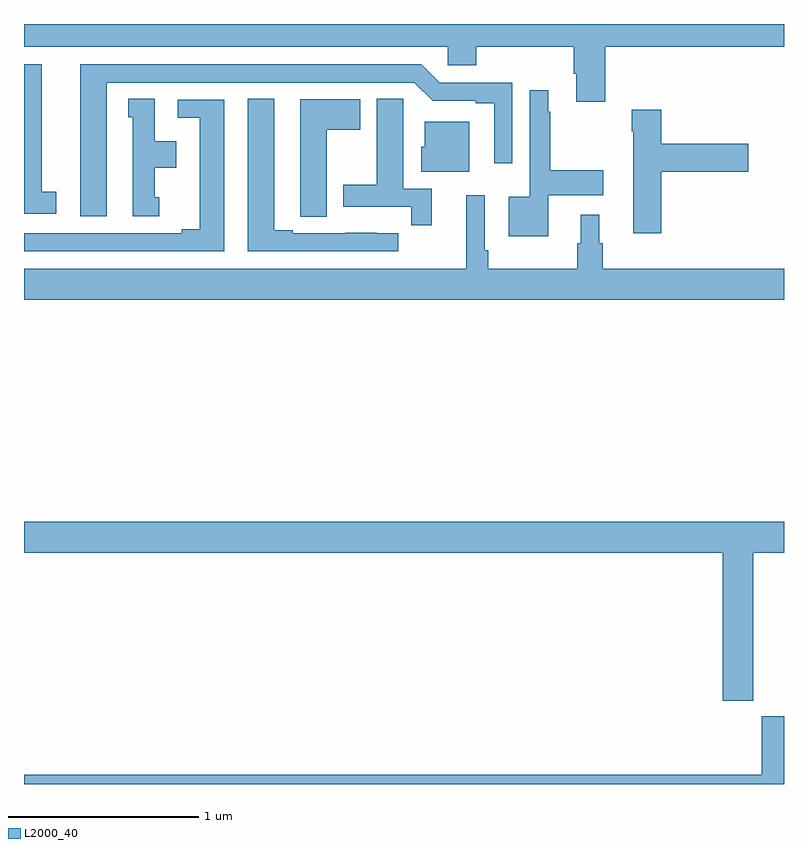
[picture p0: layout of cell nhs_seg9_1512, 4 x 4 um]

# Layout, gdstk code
import gdstk
lib = gdstk.Library(unit=1e-6, precision=1e-09)
def P(c, l, *ps):  # polygons
    for p in ps: c.add(gdstk.Polygon(p, *l))
L2000_40 = (2000, 40)

nhs_seg9_1512 = lib.new_cell('nhs_seg9_1512')
P(nhs_seg9_1512, L2000_40, [(198.059,1236.38),(199,1236.38),(199,1236.5),(195,1236.5),(195,1236.38),(197.229,1236.38),(197.229,1236.282),(197.381,1236.282),(197.381,1236.38),(197.894,1236.38),(197.894,1236.238),(197.906,1236.238),(197.906,1236.09),(198.059,1236.09)],
  [(195.436,1236.192),(197.055,1236.192),(197.151,1236.096),(197.378,1236.096),(197.378,1236.084),(197.474,1236.084),(197.474,1235.766),(197.571,1235.766),(197.571,1236.192),(197.187,1236.192),(197.091,1236.288),(195.296,1236.288),(195.296,1235.487),(195.436,1235.487)],
  [(195.169,1235.618),(195.094,1235.618),(195.094,1236.288),(195,1236.288),(195,1235.502),(195.169,1235.502)],
  [(197.758,1235.6),(198.049,1235.6),(198.049,1235.73),(197.77,1235.73),(197.77,1236.038),(197.758,1236.038),(197.758,1236.151),(197.661,1236.151),(197.661,1235.59),(197.552,1235.59),(197.552,1235.384),(197.758,1235.384)],
  [(195.712,1235.589),(195.688,1235.589),(195.688,1235.744),(195.802,1235.744),(195.802,1235.884),(195.688,1235.884),(195.688,1236.107),(195.548,1236.107),(195.548,1236.009),(195.572,1236.009),(195.572,1235.487),(195.712,1235.487)],
  [(197.147,1235.634),(196.996,1235.634),(196.996,1235.996),(196.995,1235.996),(196.995,1236.107),(196.856,1236.107),(196.856,1235.655),(196.679,1235.655),(196.679,1235.538),(197.038,1235.538),(197.038,1235.442),(197.147,1235.442)],
  [(196.969,1235.4),(196.856,1235.4),(196.856,1235.401),(196.69,1235.401),(196.69,1235.4),(196.414,1235.4),(196.414,1235.415),(196.318,1235.415),(196.318,1236.107),(196.178,1236.107),(196.178,1235.304),(196.969,1235.304)],
  [(196.594,1235.944),(196.771,1235.944),(196.771,1236.103),(196.454,1236.103),(196.454,1235.593),(196.455,1235.593),(196.455,1235.485),(196.594,1235.485)],
  [(196.054,1236.102),(195.81,1236.102),(195.81,1236.006),(195.926,1236.006),(195.926,1235.42),(195.83,1235.42),(195.83,1235.4),(195,1235.4),(195,1235.304),(196.054,1235.304)],
  [(198.353,1235.723),(198.811,1235.723),(198.811,1235.87),(198.353,1235.87),(198.353,1236.049),(198.199,1236.049),(198.199,1235.936),(198.206,1235.936),(198.206,1235.4),(198.353,1235.4)],
  [(197.344,1235.986),(197.108,1235.986),(197.108,1235.853),(197.09,1235.853),(197.09,1235.723),(197.344,1235.723)],
  [(199,1235.212),(198.047,1235.212),(198.047,1235.346),(198.028,1235.346),(198.028,1235.497),(197.93,1235.497),(197.93,1235.346),(197.911,1235.346),(197.911,1235.212),(197.444,1235.212),(197.444,1235.308),(197.424,1235.308),(197.424,1235.599),(197.327,1235.599),(197.327,1235.212),(195,1235.212),(195,1235.048),(199,1235.048)],
  [(198.837,1233.716),(199,1233.716),(199,1233.88),(195,1233.88),(195,1233.716),(198.677,1233.716),(198.677,1232.937),(198.837,1232.937)],
  [(199,1232.857),(198.884,1232.857),(198.884,1232.548),(195,1232.548),(195,1232.5),(199,1232.5)])

lib.write_gds('nhs_seg9_1512.gds')
